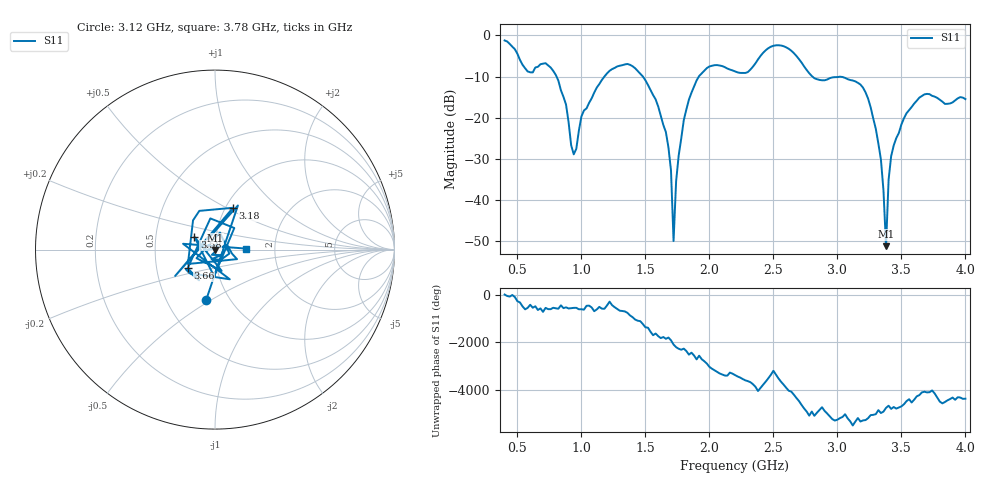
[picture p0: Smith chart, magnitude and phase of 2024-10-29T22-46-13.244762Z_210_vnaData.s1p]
!Created with skrf (http://scikit-rf.org).
# Hz S RI R 50.0
!freq ReS11 ImS11
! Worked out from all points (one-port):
!   181 points, 400 MHz to 4 GHz, reference 50 ohm
!   lowest |S11| = -51.2 dB at 3.38 GHz (marker M1), VSWR 1.01, Z = 50.1 - j0.27 ohm
!   |S11| at or under -10 dB: 806 MHz to 1.179 GHz (373 MHz wide, 37.6 % of centre); 1.481 GHz to 1.917 GHz (436 MHz wide, 25.7 % of centre); 2.806 GHz to end of sweep
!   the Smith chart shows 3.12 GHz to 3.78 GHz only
!   S11 on the Smith chart (normalised r, x): 3.12 GHz: 0.78, -0.47; 3.18 GHz: 1.08, +0.54; 3.58 GHz: 0.79, +0.11; 3.66 GHz: 0.72, -0.15; 3.78 GHz: 1.42, +0.02
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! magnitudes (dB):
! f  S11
! 400 MHz  -1.2
! 580 MHz  -8.7
! 760 MHz  -7.8
! 860 MHz  -14.9
! 940 MHz  -28.9
! 1.02 GHz  -18.2
! 1.3 GHz  -7.3
! 1.6 GHz  -17.2
! 1.68 GHz  -27.2
! 1.7 GHz  -32.8
! 1.72 GHz  -49.9
! 1.74 GHz  -35.4
! 1.76 GHz  -29.2
! 1.92 GHz  -9.8
! 2.2 GHz  -8.7
! 2.66 GHz  -4.3
! 3.1 GHz  -10.8
! 3.12 GHz  -10.9
! 3.18 GHz  -11.9
! 3.34 GHz  -30.1
! 3.38 GHz  -51.2
! 3.4 GHz  -35.0
! 3.42 GHz  -29.3
! 3.56 GHz  -18.1
! 3.58 GHz  -17.4
! 3.66 GHz  -14.7
! 3.78 GHz  -15.2
! 4 GHz  -15.4
